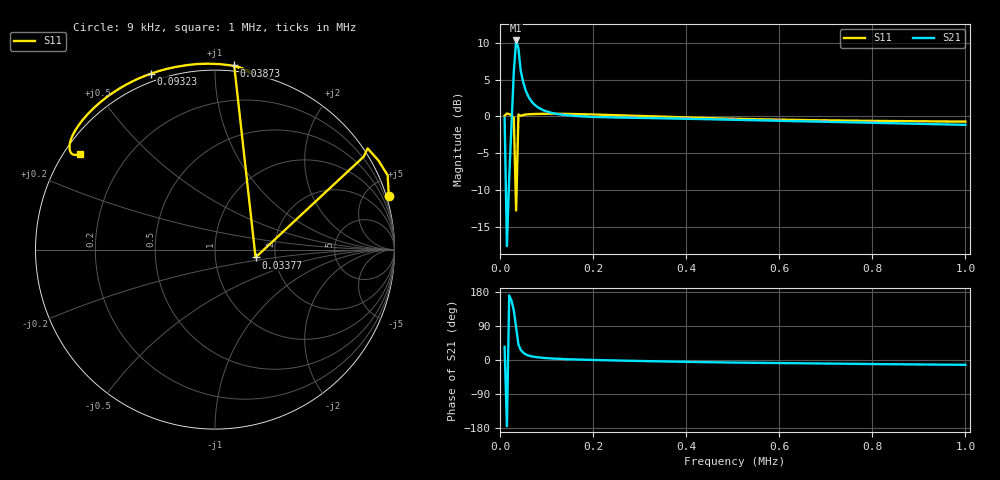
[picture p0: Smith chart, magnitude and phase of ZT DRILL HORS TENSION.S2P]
!Agilent Technologies,E5071C,MY46109397,A.09.54
!Date: Mon Jan 01 02:07:42 2001
!Data & Calibration Information:
!Freq	S11:SOLT1(ON)	S21:RESPT(ON)	S12:NONE(--)	S22:NONE(--)
# Hz S RI R 50
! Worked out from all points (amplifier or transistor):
!   201 points, 9 kHz to 1 MHz, reference 50 ohm
!   highest |S21| = 10.3 dB at 33.77 kHz (marker M1)
!   |S21| within 3 dB of that: 30.26 kHz to 41.86 kHz (11.6 kHz wide, 32.2 % of centre)
!   S11 on the Smith chart (normalised r, x): 9 kHz: -0.29, +6.64; 33.77 kHz: 1.58, -0.14; 38.73 kHz: -0.03, +1.11; 93.23 kHz: -0.03, +0.70; 1 MHz: 0.04, +0.32
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9000  0.9682 0.298  0.8036 0.5559  0 0  0 0
13955  0.9621 0.4136  -0.1311 -0.0122  0 0  0 0
18910  0.9109 0.496  -0.3797 0.0638  0 0  0 0
23865  0.8502 0.5641  -0.8003 0.3459  0 0  0 0
28820  0.8283 0.5175  -1.314 1.53  0 0  0 0
33775  0.226 -0.0435  0.2809 3.271  0 0  0 0
38730  0.1069 1.026  2.192 1.902  0 0  0 0
43685  0.1933 0.9914  1.825 0.9162  0 0  0 0
48640  0.1458 1.012  1.625 0.5862  0 0  0 0
53595  0.0881 1.026  1.472 0.4054  0 0  0 0
58550  0.0243 1.034  1.364 0.3049  0 0  0 0
68460  -0.103 1.034  1.232 0.2018  0 0  0 0
78370  -0.2163 1.018  1.158 0.1497  0 0  0 0
93235  -0.3554 0.9808  1.095 0.104  0 0  0 0
127920  -0.5657 0.8761  1.032 0.0523  0 0  0 0
177470  -0.7094 0.7545  1.001 0.0136  0 0  0 0
241885  -0.7825 0.6572  0.9855 -0.0195  0 0  0 0
340985  -0.81 0.5826  0.9712 -0.0613  0 0  0 0
504500  -0.8011 0.537  0.9423 -0.1123  0 0  0 0
672970  -0.7822 0.5276  0.9125 -0.1472  0 0  0 0
836485  -0.7654 0.5293  0.8843 -0.1731  0 0  0 0
1000000  -0.7543 0.5321  0.8556 -0.193  0 0  0 0
